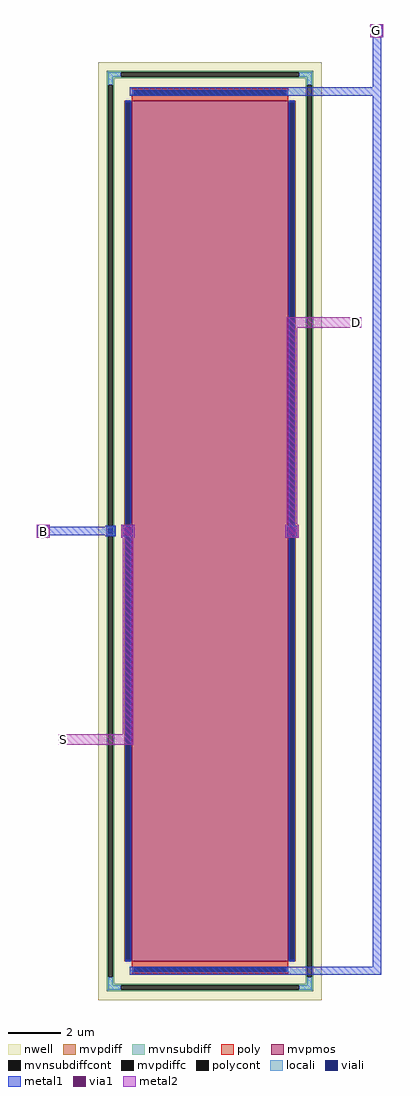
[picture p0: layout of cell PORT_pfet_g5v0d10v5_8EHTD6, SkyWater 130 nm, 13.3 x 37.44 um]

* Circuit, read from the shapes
.subckt PORT_pfet_g5v0d10v5_8EHTD6 B S D G
XM1 D G S B sky130_fd_pr__pfet_g5v0d10v5 w=33 l=6
.ends

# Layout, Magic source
magic
tech sky130A
magscale 1 2
use sky130_fd_pr__pfet_g5v0d10v5_8EHTD6 XDEV
transform 1 0 0 0 1 0
box -858 -3597 858 3597
<< locali >>
rect -796 -33 -730 33
<< viali >>
rect -780 -17 -746 17
<< metal1 >>
rect -803 -40 -723 40
rect -1312 -32 -731 32
rect -1320 -40 -1240 40
rect -669 -40 -589 40
rect 589 -40 669 40
rect -616 3341 1312 3405
rect -616 -3405 1312 -3341
rect 1248 -3396 1312 3872
rect 1240 3800 1320 3880
<< via1 >>
rect -1310 -30 -1250 30
rect -659 -30 -599 30
rect 599 -30 659 30
rect 1250 3810 1310 3870
<< metal2 >>
rect -1330 -50 -1230 50
rect -679 -50 -579 50
rect -669 -40 -589 40
rect -669 -1640 -589 40
rect 579 -50 679 50
rect 589 -40 669 40
rect 589 -40 669 1640
rect -1160 -1640 -589 -1560
rect 589 1560 1160 1640
rect 1230 3790 1330 3890
<< labels >>
rlabel metal2 -1310 -30 -1250 30 0 B
port 1 nsew
rlabel metal2 -1150 -1630 -1090 -1570 0 S
port 2 nsew
rlabel metal2 1090 1570 1150 1630 0 D
port 3 nsew
rlabel metal2 1250 3810 1310 3870 0 G
port 4 nsew
<< end >>

# cell sky130_fd_pr__pfet_g5v0d10v5_8EHTD6: kit device sky130_fd_pr__pfet_g5v0d10v5, w 33.0 l 6.0 m 1 nf 1 diffcov 100 polycov 100 guard 1 glc 1 grc 1 gtc 1 gbc 1 tbcov 100 rlcov 100 topc 1 botc 1 poverlap 0 doverlap 1 lmin 0.50 wmin 0.42 compatible {sky130_fd_pr__pfet_01v8 sky130_fd_pr__pfet_01v8_lvt sky130_fd_pr__pfet_01v8_hvt sky130_fd_pr__pfet_g5v0d10v5} full_metal 1 viasrc 100 viadrn 100 viagate 100 viagb 0 viagr 0 viagl 0 viagt 0
